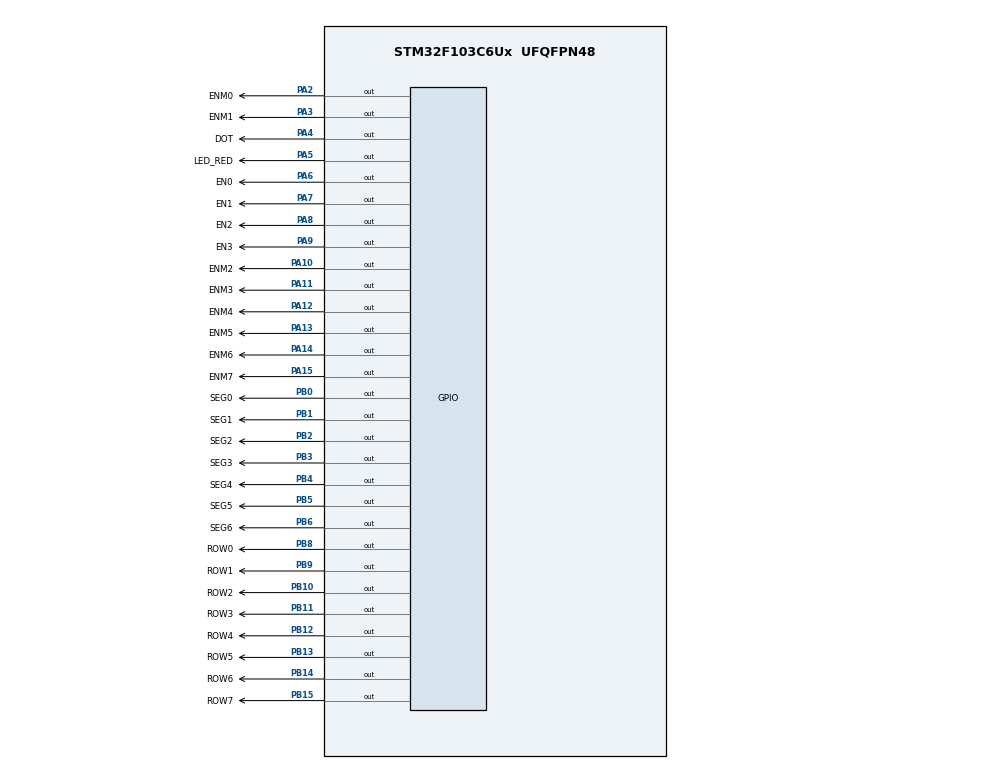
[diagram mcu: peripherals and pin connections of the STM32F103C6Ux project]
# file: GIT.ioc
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Mcu.Family=STM32F1
Mcu.Name=STM32F103C6Ux
Mcu.Package=UFQFPN48
NVIC.PriorityGroup=NVIC_PRIORITYGROUP_4
NVIC.TIM2_IRQn=true\:0\:0\:false\:false\:true\:true\:true
PA10.GPIO_Label=ENM2
PA10.Signal=GPIO_Output
PA11.GPIO_Label=ENM3
PA11.Signal=GPIO_Output
PA12.GPIO_Label=ENM4
PA12.Signal=GPIO_Output
PA13.GPIO_Label=ENM5
PA13.Signal=GPIO_Output
PA14.GPIO_Label=ENM6
PA14.Signal=GPIO_Output
PA15.GPIO_Label=ENM7
PA15.Signal=GPIO_Output
PA2.GPIO_Label=ENM0
PA2.Signal=GPIO_Output
PA3.GPIO_Label=ENM1
PA3.Signal=GPIO_Output
PA4.GPIO_Label=DOT
PA4.Signal=GPIO_Output
PA5.GPIO_Label=LED_RED
PA5.Signal=GPIO_Output
PA6.GPIO_Label=EN0
PA6.Signal=GPIO_Output
PA7.GPIO_Label=EN1
PA7.Signal=GPIO_Output
PA8.GPIO_Label=EN2
PA8.Signal=GPIO_Output
PA9.GPIO_Label=EN3
PA9.Signal=GPIO_Output
PB0.GPIO_Label=SEG0
PB0.Signal=GPIO_Output
PB1.GPIO_Label=SEG1
PB1.Signal=GPIO_Output
PB10.GPIO_Label=ROW2
PB10.Signal=GPIO_Output
PB11.GPIO_Label=ROW3
PB11.Signal=GPIO_Output
PB12.GPIO_Label=ROW4
PB12.Signal=GPIO_Output
PB13.GPIO_Label=ROW5
PB13.Signal=GPIO_Output
PB14.GPIO_Label=ROW6
PB14.Signal=GPIO_Output
PB15.GPIO_Label=ROW7
PB15.Signal=GPIO_Output
PB2.GPIO_Label=SEG2
PB2.Signal=GPIO_Output
PB3.GPIO_Label=SEG3
PB3.Signal=GPIO_Output
PB4.GPIO_Label=SEG4
PB4.Signal=GPIO_Output
PB5.GPIO_Label=SEG5
PB5.Signal=GPIO_Output
PB6.GPIO_Label=SEG6
PB6.Signal=GPIO_Output
PB8.GPIO_Label=ROW0
PB8.Signal=GPIO_Output
PB9.GPIO_Label=ROW1
PB9.Signal=GPIO_Output
ProjectManager.HeapSize=0x200
ProjectManager.StackSize=0x400
ProjectManager.TargetToolchain=STM32CubeIDE
RCC.APB1Freq_Value=8000000
RCC.APB2Freq_Value=8000000
TIM2.Period=9
TIM2.Prescaler=7999
VP_SYS_VS_ND.Mode=No_Debug
VP_TIM2_VS_ClockSourceINT.Mode=Internal
board=custom

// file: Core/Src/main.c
/* USER CODE BEGIN Header */
/**
  ******************************************************************************
  * @file           : main.c
  * @brief          : Main program body
  ******************************************************************************
  * @attention
  *
  * Copyright (c) 2022 STMicroelectronics.
  * All rights reserved.
  *
  * This software is licensed under terms that can be found in the LICENSE file
  * in the root directory of this software component.
  * If no LICENSE file comes with this software, it is provided AS-IS.
  *
  ******************************************************************************
  */
/* USER CODE END Header */
#include "main.h"

TIM_HandleTypeDef htim2;

void SystemClock_Config(void);
static void MX_GPIO_Init(void);
static void MX_TIM2_Init(void);
/* USER CODE BEGIN PFP */
void display7SEG(int num);
void update7SEG(int index);
void updateClockBuffer(int hour, int minute);
void updateLEDMatrix(int index, int animation_slide);
/* USER CODE END PFP */

/* USER CODE BEGIN 0 */
int TIMER_CYCLE = 10;

int timer0_counter = 0;
int timer0_flag = 0;
void setTimer0 ( int duration ) {
	timer0_counter = duration / TIMER_CYCLE ;
	timer0_flag = 0;
}

int timer_DOT_counter = 0;
int timer_DOT_flag = 0;
void setTimerDOT ( int duration ) {
	timer_DOT_counter = duration / TIMER_CYCLE ;
	timer_DOT_flag = 0;
}

int timer_clock_counter = 0;
int timer_clock_flag = 0;
void setTimerClock ( int duration ) {
	timer_clock_counter = duration / TIMER_CYCLE ;
	timer_clock_flag = 0;
}

int timer_7SEG_counter = 0;
int timer_7SEG_flag = 0;
void setTimer7SEG ( int duration ) {
	timer_7SEG_counter = duration / TIMER_CYCLE ;
	timer_7SEG_flag = 0;
}

int timer_led_matrix_counter = 0;
int timer_led_matrix_flag = 0;
void setTimerLEDMatrix(int duration){
	timer_led_matrix_counter = duration / TIMER_CYCLE;
	timer_led_matrix_flag = 0;
}

void timer_run () {
	if( timer0_counter > 0) {
		timer0_counter --;
		if( timer0_counter == 0) timer0_flag = 1;
	}

	if( timer_DOT_counter > 0) {
		timer_DOT_counter --;
		if( timer_DOT_counter == 0) timer_DOT_flag = 1;
	}

	if( timer_clock_counter > 0) {
		timer_clock_counter --;
		if( timer_clock_counter == 0) timer_clock_flag = 1;
	}

	if( timer_7SEG_counter > 0) {
		timer_7SEG_counter --;
		if( timer_7SEG_counter == 0) timer_7SEG_flag = 1;
	}

	if( timer_led_matrix_counter > 0) {
		timer_led_matrix_counter --;
		if( timer_led_matrix_counter == 0) timer_led_matrix_flag = 1;
	}
}

/* USER CODE END 0 */

int main(void)
{

  /* MCU Configuration--------------------------------------------------------*/

  /* Reset of all peripherals, Initializes the Flash interface and the Systick. */
  HAL_Init();

  /* Configure the system clock */
  SystemClock_Config();

  /* Initialize all configured peripherals */
  MX_GPIO_Init();
  MX_TIM2_Init();
  /* USER CODE BEGIN 2 */
  HAL_TIM_Base_Start_IT(&htim2);
  /* USER CODE END 2 */

  /* Infinite loop */
  /* USER CODE BEGIN WHILE */
  setTimer0(1000);
  setTimerDOT(1000);

  int hour = 15 , minute = 8 , second = 50;
  updateClockBuffer(hour, minute);
  setTimerClock(1000);

  const int MAX_LED = 4;
  int index_led = 0;
  setTimer7SEG(1000 / MAX_LED);

  const int MAX_LED_MATRIX = 8;
  int index_led_matrix = 0;
  setTimerLEDMatrix(500 / MAX_LED_MATRIX);
  int animation_slide = 0;

  while (1)
  {
		if (timer0_flag == 1) {
			HAL_GPIO_TogglePin(LED_RED_GPIO_Port, LED_RED_Pin);
			setTimer0(2000);
		}
		if (timer_DOT_flag == 1) {
			HAL_GPIO_TogglePin(DOT_GPIO_Port, DOT_Pin);
			setTimerDOT(1000);
		}
		if (timer_clock_flag == 1) {
			second ++;
			if ( second >= 60) {
			   second = 0;
			   minute ++;
			}
			if( minute >= 60) {
			   minute = 0;
			   hour ++;
			}
			if( hour >=24) {
			   hour = 0;
			}
			updateClockBuffer(hour, minute);

			setTimerClock(1000);
		}
		if (timer_7SEG_flag == 1) {
			if (index_led >= MAX_LED) index_led = 0;
			update7SEG(index_led++);
			setTimer7SEG(1000 / MAX_LED);
		}
		if (timer_led_matrix_flag == 1){
			if (index_led_matrix >= MAX_LED_MATRIX){
				index_led_matrix = 0;
				animation_slide++;
			}
			if (animation_slide >= MAX_LED_MATRIX)
				animation_slide = -MAX_LED_MATRIX;

			updateLEDMatrix(index_led_matrix, animation_slide);
			index_led_matrix++;
			setTimerLEDMatrix(500 / MAX_LED_MATRIX);
		}

    /* USER CODE END WHILE */

  }
}

void SystemClock_Config(void)
{
  RCC_OscInitTypeDef RCC_OscInitStruct = {0};
  RCC_ClkInitTypeDef RCC_ClkInitStruct = {0};

  /** Initializes the RCC Oscillators according to the specified parameters
  * in the RCC_OscInitTypeDef structure.
  */
  RCC_OscInitStruct.OscillatorType = RCC_OSCILLATORTYPE_HSI;
  RCC_OscInitStruct.HSIState = RCC_HSI_ON;
  RCC_OscInitStruct.HSICalibrationValue = RCC_HSICALIBRATION_DEFAULT;
  RCC_OscInitStruct.PLL.PLLState = RCC_PLL_NONE;
  if (HAL_RCC_OscConfig(&RCC_OscInitStruct) != HAL_OK)
  {
    Error_Handler();
  }

  /** Initializes the CPU, AHB and APB buses clocks
  */
  RCC_ClkInitStruct.ClockType = RCC_CLOCKTYPE_HCLK|RCC_CLOCKTYPE_SYSCLK
                              |RCC_CLOCKTYPE_PCLK1|RCC_CLOCKTYPE_PCLK2;
  RCC_ClkInitStruct.SYSCLKSource = RCC_SYSCLKSOURCE_HSI;
  RCC_ClkInitStruct.AHBCLKDivider = RCC_SYSCLK_DIV1;
  RCC_ClkInitStruct.APB1CLKDivider = RCC_HCLK_DIV1;
  RCC_ClkInitStruct.APB2CLKDivider = RCC_HCLK_DIV1;

  if (HAL_RCC_ClockConfig(&RCC_ClkInitStruct, FLASH_LATENCY_0) != HAL_OK)
  {
    Error_Handler();
  }
}

static void MX_TIM2_Init(void)
{

  TIM_ClockConfigTypeDef sClockSourceConfig = {0};
  TIM_MasterConfigTypeDef sMasterConfig = {0};

  htim2.Instance = TIM2;
  htim2.Init.Prescaler = 7999;
  htim2.Init.CounterMode = TIM_COUNTERMODE_UP;
  htim2.Init.Period = 9;
  htim2.Init.ClockDivision = TIM_CLOCKDIVISION_DIV1;
  htim2.Init.AutoReloadPreload = TIM_AUTORELOAD_PRELOAD_DISABLE;
  if (HAL_TIM_Base_Init(&htim2) != HAL_OK)
  {
    Error_Handler();
  }
  sClockSourceConfig.ClockSource = TIM_CLOCKSOURCE_INTERNAL;
  if (HAL_TIM_ConfigClockSource(&htim2, &sClockSourceConfig) != HAL_OK)
  {
    Error_Handler();
  }
  sMasterConfig.MasterOutputTrigger = TIM_TRGO_RESET;
  sMasterConfig.MasterSlaveMode = TIM_MASTERSLAVEMODE_DISABLE;
  if (HAL_TIMEx_MasterConfigSynchronization(&htim2, &sMasterConfig) != HAL_OK)
  {
    Error_Handler();
  }

}

static void MX_GPIO_Init(void)
{
  GPIO_InitTypeDef GPIO_InitStruct = {0};

  /* GPIO Ports Clock Enable */
  __HAL_RCC_GPIOA_CLK_ENABLE();
  __HAL_RCC_GPIOB_CLK_ENABLE();

  /*Configure GPIO pin Output Level */
  HAL_GPIO_WritePin(GPIOA, ENM0_Pin|ENM1_Pin|DOT_Pin|LED_RED_Pin
                          |EN0_Pin|EN1_Pin|EN2_Pin|EN3_Pin
                          |ENM2_Pin|ENM3_Pin|ENM4_Pin|ENM5_Pin
                          |ENM6_Pin|ENM7_Pin, GPIO_PIN_RESET);

  /*Configure GPIO pin Output Level */
  HAL_GPIO_WritePin(GPIOB, GPIO_PIN_0|GPIO_PIN_1|GPIO_PIN_2|ROW2_Pin
                          |ROW3_Pin|ROW4_Pin|ROW5_Pin|ROW6_Pin
                          |ROW7_Pin|GPIO_PIN_3|GPIO_PIN_4|GPIO_PIN_5
                          |GPIO_PIN_6|ROW0_Pin|ROW1_Pin, GPIO_PIN_RESET);

  /*Configure GPIO pins : ENM0_Pin ENM1_Pin DOT_Pin LED_RED_Pin
                           EN0_Pin EN1_Pin EN2_Pin EN3_Pin
                           ENM2_Pin ENM3_Pin ENM4_Pin ENM5_Pin
                           ENM6_Pin ENM7_Pin */
  GPIO_InitStruct.Pin = ENM0_Pin|ENM1_Pin|DOT_Pin|LED_RED_Pin
                          |EN0_Pin|EN1_Pin|EN2_Pin|EN3_Pin
                          |ENM2_Pin|ENM3_Pin|ENM4_Pin|ENM5_Pin
                          |ENM6_Pin|ENM7_Pin;
  GPIO_InitStruct.Mode = GPIO_MODE_OUTPUT_PP;
  GPIO_InitStruct.Pull = GPIO_NOPULL;
  GPIO_InitStruct.Speed = GPIO_SPEED_FREQ_LOW;
  HAL_GPIO_Init(GPIOA, &GPIO_InitStruct);

  /*Configure GPIO pins : PB0 PB1 PB2 ROW2_Pin
                           ROW3_Pin ROW4_Pin ROW5_Pin ROW6_Pin
                           ROW7_Pin PB3 PB4 PB5
                           PB6 ROW0_Pin ROW1_Pin */
  GPIO_InitStruct.Pin = GPIO_PIN_0|GPIO_PIN_1|GPIO_PIN_2|ROW2_Pin
                          |ROW3_Pin|ROW4_Pin|ROW5_Pin|ROW6_Pin
                          |ROW7_Pin|GPIO_PIN_3|GPIO_PIN_4|GPIO_PIN_5
                          |GPIO_PIN_6|ROW0_Pin|ROW1_Pin;
  GPIO_InitStruct.Mode = GPIO_MODE_OUTPUT_PP;
  GPIO_InitStruct.Pull = GPIO_NOPULL;
  GPIO_InitStruct.Speed = GPIO_SPEED_FREQ_LOW;
  HAL_GPIO_Init(GPIOB, &GPIO_InitStruct);

}

/* USER CODE BEGIN 4 */
void HAL_TIM_PeriodElapsedCallback(TIM_HandleTypeDef *htim){
	timer_run();
}

int led_buffer[4] = {8, 8, 8, 8};
void updateClockBuffer(int hour, int minute){
	led_buffer[0] = hour / 10;
	led_buffer[1] = hour % 10;
	led_buffer[2] = minute / 10;
	led_buffer[3] = minute % 10;
}

void update7SEG(int index){
	switch (index){
	case 0:
		HAL_GPIO_WritePin(EN0_GPIO_Port, EN0_Pin, RESET);
		HAL_GPIO_WritePin(EN1_GPIO_Port, EN1_Pin, SET);
		HAL_GPIO_WritePin(EN2_GPIO_Port, EN2_Pin, SET);
		HAL_GPIO_WritePin(EN3_GPIO_Port, EN3_Pin, SET);
		display7SEG(led_buffer[0]);

		break;
	case 1:
		HAL_GPIO_WritePin(EN0_GPIO_Port, EN0_Pin, SET);
		HAL_GPIO_WritePin(EN1_GPIO_Port, EN1_Pin, RESET);
		HAL_GPIO_WritePin(EN2_GPIO_Port, EN2_Pin, SET);
		HAL_GPIO_WritePin(EN3_GPIO_Port, EN3_Pin, SET);
		display7SEG(led_buffer[1]);

		break;
	case 2:
		HAL_GPIO_WritePin(EN0_GPIO_Port, EN0_Pin, SET);
		HAL_GPIO_WritePin(EN1_GPIO_Port, EN1_Pin, SET);
		HAL_GPIO_WritePin(EN2_GPIO_Port, EN2_Pin, RESET);
		HAL_GPIO_WritePin(EN3_GPIO_Port, EN3_Pin, SET);
		display7SEG(led_buffer[2]);

		break;
	case 3:
		HAL_GPIO_WritePin(EN0_GPIO_Port, EN0_Pin, SET);
		HAL_GPIO_WritePin(EN1_GPIO_Port, EN1_Pin, SET);
		HAL_GPIO_WritePin(EN2_GPIO_Port, EN2_Pin, SET);
		HAL_GPIO_WritePin(EN3_GPIO_Port, EN3_Pin, RESET);
		display7SEG(led_buffer[3]);

		break;
	default:
		break;
	}
}

void display7SEG(int num) {
    // Dữ liệu để điều khiển các LED (LED1 đến LED7) cho số từ 0 đến 9
    uint8_t segment_data[10] = {
        0xC0,  // 0: 1100 0000 (a,b,c,d,e,f - tắt các đoạn LED tương ứng)
        0xF9,  // 1: 1111 1001 (b,c)
        0xA4,  // 2: 1010 0100 (a,b,d,e,g)
        0xB0,  // 3: 1011 0000 (a,b,c,d,g)
        0x99,  // 4: 1001 1001 (b,c,f,g)
        0x92,  // 5: 1001 0010 (a,c,d,f,g)
        0x82,  // 6: 1000 0010 (a,c,d,e,f,g)
        0xF8,  // 7: 1111 1000 (a,b,c)
        0x80,  // 8: 1000 0000 (a,b,c,d,e,f,g)
        0x90   // 9: 1001 0000 (a,b,c,d,f,g)
    };

    // Đặt giá trị các chân PB0-PB6 (LED1 đến LED7) tương ứng với số num
    HAL_GPIO_WritePin(SEG0_GPIO_Port, SEG0_Pin, (segment_data[num] & 0x01) ? SET : RESET);  // LED1
    HAL_GPIO_WritePin(SEG1_GPIO_Port, SEG1_Pin, (segment_data[num] & 0x02) ? SET : RESET);  // LED2
    HAL_GPIO_WritePin(SEG2_GPIO_Port, SEG2_Pin, (segment_data[num] & 0x04) ? SET : RESET);  // LED3
    HAL_GPIO_WritePin(SEG3_GPIO_Port, SEG3_Pin, (segment_data[num] & 0x08) ? SET : RESET);  // LED4
    HAL_GPIO_WritePin(SEG4_GPIO_Port, SEG4_Pin, (segment_data[num] & 0x10) ? SET : RESET);  // LED5
    HAL_GPIO_WritePin(SEG5_GPIO_Port, SEG5_Pin, (segment_data[num] & 0x20) ? SET : RESET);  // LED6
    HAL_GPIO_WritePin(SEG6_GPIO_Port, SEG6_Pin, (segment_data[num] & 0x40) ? SET : RESET);  // LED7
}
/* matrix_buffer display letter A
 *   01234567
 * 0    oo
 * 1   oooo
 * 2  oo  oo
 * 3  oo  oo
 * 4 oooooooo
 * 5 oooooooo
 * 6 oo    oo
 * 7 oo    oo
 */
uint32_t matrix_buffer[8] = {
		ROW4_Pin|ROW5_Pin|ROW6_Pin|ROW7_Pin,
		ROW2_Pin|ROW3_Pin|ROW4_Pin|ROW5_Pin|ROW6_Pin|ROW7_Pin,
		ROW1_Pin|ROW2_Pin|ROW3_Pin|ROW4_Pin,
		ROW0_Pin|ROW1_Pin|ROW4_Pin|ROW5_Pin,
		ROW0_Pin|ROW1_Pin|ROW4_Pin|ROW5_Pin,
		ROW1_Pin|ROW2_Pin|ROW3_Pin|ROW4_Pin,
		ROW2_Pin|ROW3_Pin|ROW4_Pin|ROW5_Pin|ROW6_Pin|ROW7_Pin,
		ROW4_Pin|ROW5_Pin|ROW6_Pin|ROW7_Pin
};
void updateLEDMatrix (int index, int animation_slide) {
	/*
	 * Display letter A
	 * animation_slide: number of columns letter A moves to left
	 */
	HAL_GPIO_WritePin(ROW0_GPIO_Port, ROW0_Pin, SET);
	HAL_GPIO_WritePin(ROW1_GPIO_Port, ROW1_Pin, SET);
	HAL_GPIO_WritePin(ROW2_GPIO_Port, ROW2_Pin, SET);
	HAL_GPIO_WritePin(ROW3_GPIO_Port, ROW3_Pin, SET);
	HAL_GPIO_WritePin(ROW4_GPIO_Port, ROW4_Pin, SET);
	HAL_GPIO_WritePin(ROW5_GPIO_Port, ROW5_Pin, SET);
	HAL_GPIO_WritePin(ROW6_GPIO_Port, ROW6_Pin, SET);
	HAL_GPIO_WritePin(ROW7_GPIO_Port, ROW7_Pin, SET);

	HAL_GPIO_WritePin(ENM0_GPIO_Port, ENM0_Pin, SET);
	HAL_GPIO_WritePin(ENM1_GPIO_Port, ENM1_Pin, SET);
	HAL_GPIO_WritePin(ENM2_GPIO_Port, ENM2_Pin, SET);
	HAL_GPIO_WritePin(ENM3_GPIO_Port, ENM3_Pin, SET);
	HAL_GPIO_WritePin(ENM4_GPIO_Port, ENM4_Pin, SET);
	HAL_GPIO_WritePin(ENM5_GPIO_Port, ENM5_Pin, SET);
	HAL_GPIO_WritePin(ENM6_GPIO_Port, ENM6_Pin, SET);
	HAL_GPIO_WritePin(ENM7_GPIO_Port, ENM7_Pin, SET);

	switch(index - animation_slide){ // move to left animation_slide cols
	case 0:
		HAL_GPIO_WritePin(ENM0_GPIO_Port, ENM0_Pin, RESET);
		break;
	case 1:
		HAL_GPIO_WritePin(ENM0_GPIO_Port, ENM1_Pin, RESET);
		break;
	case 2:
		HAL_GPIO_WritePin(ENM0_GPIO_Port, ENM2_Pin, RESET);
		break;
	case 3:
		HAL_GPIO_WritePin(ENM0_GPIO_Port, ENM3_Pin, RESET);
		break;
	case 4:
		HAL_GPIO_WritePin(ENM0_GPIO_Port, ENM4_Pin, RESET);
		break;
	case 5:
		HAL_GPIO_WritePin(ENM0_GPIO_Port, ENM5_Pin, RESET);
		break;
	case 6:
		HAL_GPIO_WritePin(ENM0_GPIO_Port, ENM6_Pin, RESET);
		break;
	case 7:
		HAL_GPIO_WritePin(ENM0_GPIO_Port, ENM7_Pin, RESET);
		break;
	default:
		break;
	}

	HAL_GPIO_WritePin(GPIOB, matrix_buffer[index], RESET);
}
/* USER CODE END 4 */

void Error_Handler(void)
{
  __disable_irq();
  while (1)
  {
  }
}
